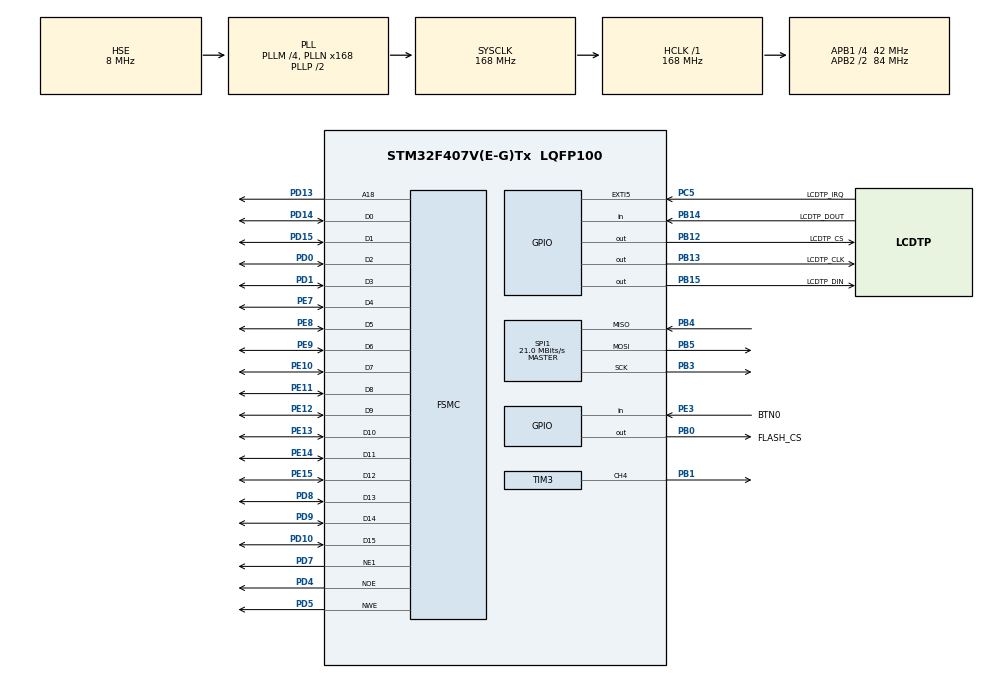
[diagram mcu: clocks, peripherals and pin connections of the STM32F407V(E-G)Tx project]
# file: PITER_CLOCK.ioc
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FSMC.BusTurnAroundDuration1=0
FSMC.DataSetupTime1=60
FSMC.ExtendedAddressSetupTime1=4
FSMC.ExtendedBusTurnAroundDuration1=0
FSMC.ExtendedDataSetupTime1=5
FSMC.ExtendedMode1=FSMC_EXTENDED_MODE_ENABLE
Mcu.Family=STM32F4
Mcu.Name=STM32F407V(E-G)Tx
Mcu.Package=LQFP100
NVIC.PriorityGroup=NVIC_PRIORITYGROUP_4
NVIC.TIM4_IRQn=true\:0\:0\:false\:false\:true\:true\:true\:true
PA13.Mode=Serial_Wire
PA13.Signal=SYS_JTMS-SWDIO
PA14.Mode=Serial_Wire
PA14.Signal=SYS_JTCK-SWCLK
PB0.GPIO_Label=FLASH_CS
PB0.GPIO_PuPd=GPIO_PULLUP
PB0.GPIO_Speed=GPIO_SPEED_FREQ_HIGH
PB0.PinState=GPIO_PIN_SET
PB0.Signal=GPIO_Output
PB1.Signal=S_TIM3_CH4
PB12.GPIO_Label=LCDTP_CS
PB12.GPIO_Speed=GPIO_SPEED_FREQ_HIGH
PB12.PinState=GPIO_PIN_SET
PB12.Signal=GPIO_Output
PB13.GPIO_Label=LCDTP_CLK
PB13.GPIO_Speed=GPIO_SPEED_FREQ_HIGH
PB13.Signal=GPIO_Output
PB14.GPIO_Label=LCDTP_DOUT
PB14.Signal=GPIO_Input
PB15.GPIO_Label=LCDTP_DIN
PB15.GPIO_Speed=GPIO_SPEED_FREQ_HIGH
PB15.Signal=GPIO_Output
PB3.Mode=Full_Duplex_Master
PB3.Signal=SPI1_SCK
PB4.Mode=Full_Duplex_Master
PB4.Signal=SPI1_MISO
PB5.Mode=Full_Duplex_Master
PB5.Signal=SPI1_MOSI
PC14-OSC32_IN.Mode=LSE-External-Oscillator
PC14-OSC32_IN.Signal=RCC_OSC32_IN
PC15-OSC32_OUT.Mode=LSE-External-Oscillator
PC15-OSC32_OUT.Signal=RCC_OSC32_OUT
PC5.GPIO_Label=LCDTP_IRQ
PC5.GPIO_ModeDefaultEXTI=GPIO_MODE_IT_FALLING
PC5.GPIO_PuPd=GPIO_PULLUP
PC5.Signal=GPXTI5
PD0.Mode=16b-d1
PD0.Signal=FSMC_D2
PD1.Mode=16b-d1
PD1.Signal=FSMC_D3
PD10.Mode=16b-d1
PD10.Signal=FSMC_D15
PD13.Mode=A18_1
PD13.Signal=FSMC_A18
PD14.Mode=16b-d1
PD14.Signal=FSMC_D0
PD15.Mode=16b-d1
PD15.Signal=FSMC_D1
PD4.Mode=Lcd1
PD4.Signal=FSMC_NOE
PD5.Mode=Lcd1
PD5.Signal=FSMC_NWE
PD7.Mode=NorPsramChipSelect1_1
PD7.Signal=FSMC_NE1
PD8.Mode=16b-d1
PD8.Signal=FSMC_D13
PD9.Mode=16b-d1
PD9.Signal=FSMC_D14
PE10.Mode=16b-d1
PE10.Signal=FSMC_D7
PE11.Mode=16b-d1
PE11.Signal=FSMC_D8
PE12.Mode=16b-d1
PE12.Signal=FSMC_D9
PE13.Mode=16b-d1
PE13.Signal=FSMC_D10
PE14.Mode=16b-d1
PE14.Signal=FSMC_D11
PE15.Mode=16b-d1
PE15.Signal=FSMC_D12
PE3.GPIO_Label=BTN0
PE3.GPIO_PuPd=GPIO_PULLUP
PE3.Signal=GPIO_Input
PE7.Mode=16b-d1
PE7.Signal=FSMC_D4
PE8.Mode=16b-d1
PE8.Signal=FSMC_D5
PE9.Mode=16b-d1
PE9.Signal=FSMC_D6
PH0-OSC_IN.Mode=HSE-External-Oscillator
PH0-OSC_IN.Signal=RCC_OSC_IN
PH1-OSC_OUT.Mode=HSE-External-Oscillator
PH1-OSC_OUT.Signal=RCC_OSC_OUT
ProjectManager.HeapSize=0x800
ProjectManager.StackSize=0x800
ProjectManager.TargetToolchain=STM32CubeIDE
RCC.48MHZClocksFreq_Value=48000000
RCC.AHBFreq_Value=168000000
RCC.APB1CLKDivider=RCC_HCLK_DIV4
RCC.APB1Freq_Value=42000000
RCC.APB1TimFreq_Value=84000000
RCC.APB2CLKDivider=RCC_HCLK_DIV2
RCC.APB2Freq_Value=84000000
RCC.APB2TimFreq_Value=168000000
RCC.CortexFreq_Value=168000000
RCC.HCLKFreq_Value=168000000
RCC.HSE_VALUE=8000000
RCC.HSI_VALUE=16000000
RCC.PLLM=4
RCC.PLLN=168
RCC.PLLQ=7
RCC.PLLSourceVirtual=RCC_PLLSOURCE_HSE
RCC.RCC_RTC_Clock_Source=RCC_RTCCLKSOURCE_LSE
RCC.RCC_RTC_Clock_SourceVirtual=RCC_RTCCLKSOURCE_LSE
RCC.SYSCLKFreq_VALUE=168000000
RCC.SYSCLKSource=RCC_SYSCLKSOURCE_PLLCLK
RCC.VCOOutputFreq_Value=336000000
SH.S_TIM3_CH4.0=TIM3_CH4,PWM Generation4 CH4
SPI1.BaudRatePrescaler=SPI_BAUDRATEPRESCALER_4
SPI1.CalculateBaudRate=21.0 MBits/s
SPI1.Direction=SPI_DIRECTION_2LINES
SPI1.Mode=SPI_MODE_MASTER
SPI1.VirtualType=VM_MASTER
TIM3.AutoReloadPreload=TIM_AUTORELOAD_PRELOAD_ENABLE
TIM3.Channel-PWM\ Generation4\ CH4=TIM_CHANNEL_4
TIM3.Prescaler=2
TIM4.Period=4999
TIM4.Prescaler=8400-1
TIM6.Prescaler=84-1
VP_RNG_VS_RNG.Mode=RNG_Activate
VP_RTC_VS_RTC_Activate.Mode=RTC_Enabled
VP_TIM3_VS_ClockSourceINT.Mode=Internal
VP_TIM4_VS_ClockSourceINT.Mode=Internal
VP_TIM6_VS_ClockSourceINT.Mode=Enable_Timer
board=custom

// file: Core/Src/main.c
/* USER CODE BEGIN Header */
/**
  ******************************************************************************
  * @file           : main.c
  * @brief          : Main program body
  ******************************************************************************
  * @attention
  *
  * Copyright (c) 2025 STMicroelectronics.
  * All rights reserved.
  *
  * This software is licensed under terms that can be found in the LICENSE file
  * in the root directory of this software component.
  * If no LICENSE file comes with this software, it is provided AS-IS.
  *
  ******************************************************************************
  */
/* USER CODE END Header */
#include "main.h"

/* USER CODE BEGIN Includes */
#include  "RTC.h"
#include "time.h"
#include "ili9341.h"
#include "touch_panel.h"
#include "ADT_F.h"
/* USER CODE END Includes */

RNG_HandleTypeDef hrng;

RTC_HandleTypeDef hrtc;

SPI_HandleTypeDef hspi1;

TIM_HandleTypeDef htim3;
TIM_HandleTypeDef htim4;
TIM_HandleTypeDef htim6;

SRAM_HandleTypeDef hsram1;

/* USER CODE BEGIN PV */
uint8_t idx[13];
uint8_t idy[13];
extern lcdPropertiesTypeDef  lcdProperties;
extern uint16_t lcd_text_color ;
extern uint16_t lcd_background_color;
extern uint16_t Paint_Color;

extern uint8_t LCD_WORK_ORIENTATION ;
extern uint8_t LCD_NOT_WORK_ORIENTATION ;
extern uint8_t LCD_PORTRAIT_WORK_ORIENTATION ;
extern uint8_t LCD_PORTRAIT_NOT_WORK_ORIENTATION ;

extern uint8_t change_colors ;
extern uint8_t mode_night ;
/* USER CODE END PV */

void SystemClock_Config(void);
static void MX_GPIO_Init(void);
static void MX_FSMC_Init(void);
static void MX_RNG_Init(void);
static void MX_RTC_Init(void);
static void MX_SPI1_Init(void);
static void MX_TIM6_Init(void);
static void MX_TIM3_Init(void);
static void MX_TIM4_Init(void);
/* USER CODE BEGIN PFP */
//================================================================

//=================================================================
/* USER CODE END PFP */

int main(void)
{

  /* MCU Configuration--------------------------------------------------------*/

  /* Reset of all peripherals, Initializes the Flash interface and the Systick. */
  HAL_Init();

  /* Configure the system clock */
  SystemClock_Config();

  /* Initialize all configured peripherals */
  MX_GPIO_Init();
  MX_FSMC_Init();
  MX_RNG_Init();
  MX_RTC_Init();
  MX_SPI1_Init();
  MX_TIM6_Init();
  MX_TIM3_Init();
  MX_TIM4_Init();
  /* USER CODE BEGIN 2 */
  //===========================================
  check_work_orientation();
  check_slideshow();
  HAL_TIM_Base_Stop_IT(&htim4); // stop INTERRUPT from TIMER4 for colon blink
  HAL_TIM_PWM_Start(&htim3, TIM_CHANNEL_4); // enable PWM back light
  change_colors = HAL_RTCEx_BKUPRead(&hrtc, RTC_BKP_DR2);
  mode_night = HAL_RTCEx_BKUPRead(&hrtc, RTC_BKP_DR3);
  READ_CENTURY();
  __HAL_TIM_SET_COMPARE(&htim3, TIM_CHANNEL_4, 65535);
  CHECK_CALIBRATE_TIME_VALUES(); // check calibration time values and setup if needed
  //===========================================
  LCD_ILI9341_init();
  check_work_orientation();
  lcdSetOrientation(LCD_WORK_ORIENTATION);
  //====================================================

  readPicFromFlash(7);

  for (int t = 65535; t > 0; t -= 32)
  {
	  HAL_Delay(1);
    __HAL_TIM_SET_COMPARE(&htim3, TIM_CHANNEL_4, t);
  }

  LCD_ClrScr(0);
  HAL_Delay(500);

  set_PWM();
  print_RTC();

  /* USER CODE END 2 */

  /* Infinite loop */
  /* USER CODE BEGIN WHILE */
  while (1)
  {
	  test_print_RTC();
	  test_setup();

    /* USER CODE END WHILE */

  }
}

void SystemClock_Config(void)
{
  RCC_OscInitTypeDef RCC_OscInitStruct = {0};
  RCC_ClkInitTypeDef RCC_ClkInitStruct = {0};

  /** Configure the main internal regulator output voltage
  */
  __HAL_RCC_PWR_CLK_ENABLE();
  __HAL_PWR_VOLTAGESCALING_CONFIG(PWR_REGULATOR_VOLTAGE_SCALE1);

  /** Initializes the RCC Oscillators according to the specified parameters
  * in the RCC_OscInitTypeDef structure.
  */
  RCC_OscInitStruct.OscillatorType = RCC_OSCILLATORTYPE_HSE|RCC_OSCILLATORTYPE_LSE;
  RCC_OscInitStruct.HSEState = RCC_HSE_ON;
  RCC_OscInitStruct.LSEState = RCC_LSE_ON;
  RCC_OscInitStruct.PLL.PLLState = RCC_PLL_ON;
  RCC_OscInitStruct.PLL.PLLSource = RCC_PLLSOURCE_HSE;
  RCC_OscInitStruct.PLL.PLLM = 4;
  RCC_OscInitStruct.PLL.PLLN = 168;
  RCC_OscInitStruct.PLL.PLLP = RCC_PLLP_DIV2;
  RCC_OscInitStruct.PLL.PLLQ = 7;
  if (HAL_RCC_OscConfig(&RCC_OscInitStruct) != HAL_OK)
  {
    Error_Handler();
  }

  /** Initializes the CPU, AHB and APB buses clocks
  */
  RCC_ClkInitStruct.ClockType = RCC_CLOCKTYPE_HCLK|RCC_CLOCKTYPE_SYSCLK
                              |RCC_CLOCKTYPE_PCLK1|RCC_CLOCKTYPE_PCLK2;
  RCC_ClkInitStruct.SYSCLKSource = RCC_SYSCLKSOURCE_PLLCLK;
  RCC_ClkInitStruct.AHBCLKDivider = RCC_SYSCLK_DIV1;
  RCC_ClkInitStruct.APB1CLKDivider = RCC_HCLK_DIV4;
  RCC_ClkInitStruct.APB2CLKDivider = RCC_HCLK_DIV2;

  if (HAL_RCC_ClockConfig(&RCC_ClkInitStruct, FLASH_LATENCY_5) != HAL_OK)
  {
    Error_Handler();
  }
}

static void MX_RNG_Init(void)
{

  hrng.Instance = RNG;
  if (HAL_RNG_Init(&hrng) != HAL_OK)
  {
    Error_Handler();
  }

}

static void MX_RTC_Init(void)
{

  /** Initialize RTC Only
  */
  hrtc.Instance = RTC;
  hrtc.Init.HourFormat = RTC_HOURFORMAT_24;
  hrtc.Init.AsynchPrediv = 127;
  hrtc.Init.SynchPrediv = 255;
  hrtc.Init.OutPut = RTC_OUTPUT_DISABLE;
  hrtc.Init.OutPutPolarity = RTC_OUTPUT_POLARITY_HIGH;
  hrtc.Init.OutPutType = RTC_OUTPUT_TYPE_OPENDRAIN;
  if (HAL_RTC_Init(&hrtc) != HAL_OK)
  {
    Error_Handler();
  }

}

static void MX_SPI1_Init(void)
{

  /* SPI1 parameter configuration*/
  hspi1.Instance = SPI1;
  hspi1.Init.Mode = SPI_MODE_MASTER;
  hspi1.Init.Direction = SPI_DIRECTION_2LINES;
  hspi1.Init.DataSize = SPI_DATASIZE_8BIT;
  hspi1.Init.CLKPolarity = SPI_POLARITY_LOW;
  hspi1.Init.CLKPhase = SPI_PHASE_1EDGE;
  hspi1.Init.NSS = SPI_NSS_SOFT;
  hspi1.Init.BaudRatePrescaler = SPI_BAUDRATEPRESCALER_4;
  hspi1.Init.FirstBit = SPI_FIRSTBIT_MSB;
  hspi1.Init.TIMode = SPI_TIMODE_DISABLE;
  hspi1.Init.CRCCalculation = SPI_CRCCALCULATION_DISABLE;
  hspi1.Init.CRCPolynomial = 10;
  if (HAL_SPI_Init(&hspi1) != HAL_OK)
  {
    Error_Handler();
  }

}

static void MX_TIM3_Init(void)
{

  TIM_ClockConfigTypeDef sClockSourceConfig = {0};
  TIM_MasterConfigTypeDef sMasterConfig = {0};
  TIM_OC_InitTypeDef sConfigOC = {0};

  htim3.Instance = TIM3;
  htim3.Init.Prescaler = 2;
  htim3.Init.CounterMode = TIM_COUNTERMODE_UP;
  htim3.Init.Period = 65535;
  htim3.Init.ClockDivision = TIM_CLOCKDIVISION_DIV1;
  htim3.Init.AutoReloadPreload = TIM_AUTORELOAD_PRELOAD_ENABLE;
  if (HAL_TIM_Base_Init(&htim3) != HAL_OK)
  {
    Error_Handler();
  }
  sClockSourceConfig.ClockSource = TIM_CLOCKSOURCE_INTERNAL;
  if (HAL_TIM_ConfigClockSource(&htim3, &sClockSourceConfig) != HAL_OK)
  {
    Error_Handler();
  }
  if (HAL_TIM_PWM_Init(&htim3) != HAL_OK)
  {
    Error_Handler();
  }
  sMasterConfig.MasterOutputTrigger = TIM_TRGO_RESET;
  sMasterConfig.MasterSlaveMode = TIM_MASTERSLAVEMODE_DISABLE;
  if (HAL_TIMEx_MasterConfigSynchronization(&htim3, &sMasterConfig) != HAL_OK)
  {
    Error_Handler();
  }
  sConfigOC.OCMode = TIM_OCMODE_PWM1;
  sConfigOC.Pulse = 0;
  sConfigOC.OCPolarity = TIM_OCPOLARITY_HIGH;
  sConfigOC.OCFastMode = TIM_OCFAST_DISABLE;
  if (HAL_TIM_PWM_ConfigChannel(&htim3, &sConfigOC, TIM_CHANNEL_4) != HAL_OK)
  {
    Error_Handler();
  }
  HAL_TIM_MspPostInit(&htim3);

}

static void MX_TIM4_Init(void)
{

  TIM_ClockConfigTypeDef sClockSourceConfig = {0};
  TIM_MasterConfigTypeDef sMasterConfig = {0};

  htim4.Instance = TIM4;
  htim4.Init.Prescaler = 8400-1;
  htim4.Init.CounterMode = TIM_COUNTERMODE_UP;
  htim4.Init.Period = 4999;
  htim4.Init.ClockDivision = TIM_CLOCKDIVISION_DIV1;
  htim4.Init.AutoReloadPreload = TIM_AUTORELOAD_PRELOAD_DISABLE;
  if (HAL_TIM_Base_Init(&htim4) != HAL_OK)
  {
    Error_Handler();
  }
  sClockSourceConfig.ClockSource = TIM_CLOCKSOURCE_INTERNAL;
  if (HAL_TIM_ConfigClockSource(&htim4, &sClockSourceConfig) != HAL_OK)
  {
    Error_Handler();
  }
  sMasterConfig.MasterOutputTrigger = TIM_TRGO_RESET;
  sMasterConfig.MasterSlaveMode = TIM_MASTERSLAVEMODE_DISABLE;
  if (HAL_TIMEx_MasterConfigSynchronization(&htim4, &sMasterConfig) != HAL_OK)
  {
    Error_Handler();
  }

}

static void MX_TIM6_Init(void)
{

  TIM_MasterConfigTypeDef sMasterConfig = {0};

  htim6.Instance = TIM6;
  htim6.Init.Prescaler = 84-1;
  htim6.Init.CounterMode = TIM_COUNTERMODE_UP;
  htim6.Init.Period = 65535;
  htim6.Init.AutoReloadPreload = TIM_AUTORELOAD_PRELOAD_DISABLE;
  if (HAL_TIM_Base_Init(&htim6) != HAL_OK)
  {
    Error_Handler();
  }
  sMasterConfig.MasterOutputTrigger = TIM_TRGO_RESET;
  sMasterConfig.MasterSlaveMode = TIM_MASTERSLAVEMODE_DISABLE;
  if (HAL_TIMEx_MasterConfigSynchronization(&htim6, &sMasterConfig) != HAL_OK)
  {
    Error_Handler();
  }

}

static void MX_GPIO_Init(void)
{
  GPIO_InitTypeDef GPIO_InitStruct = {0};

  /* GPIO Ports Clock Enable */
  __HAL_RCC_GPIOE_CLK_ENABLE();
  __HAL_RCC_GPIOC_CLK_ENABLE();
  __HAL_RCC_GPIOH_CLK_ENABLE();
  __HAL_RCC_GPIOA_CLK_ENABLE();
  __HAL_RCC_GPIOB_CLK_ENABLE();
  __HAL_RCC_GPIOD_CLK_ENABLE();

  /*Configure GPIO pin Output Level */
  HAL_GPIO_WritePin(GPIOB, FLASH_CS_Pin|LCDTP_CS_Pin, GPIO_PIN_SET);

  /*Configure GPIO pin Output Level */
  HAL_GPIO_WritePin(GPIOB, LCDTP_CLK_Pin|LCDTP_DIN_Pin, GPIO_PIN_RESET);

  /*Configure GPIO pins : PE2 PE4 PE5 PE6
                           PE0 PE1 */
  GPIO_InitStruct.Pin = GPIO_PIN_2|GPIO_PIN_4|GPIO_PIN_5|GPIO_PIN_6
                          |GPIO_PIN_0|GPIO_PIN_1;
  GPIO_InitStruct.Mode = GPIO_MODE_ANALOG;
  GPIO_InitStruct.Pull = GPIO_NOPULL;
  HAL_GPIO_Init(GPIOE, &GPIO_InitStruct);

  /*Configure GPIO pin : BTN0_Pin */
  GPIO_InitStruct.Pin = BTN0_Pin;
  GPIO_InitStruct.Mode = GPIO_MODE_INPUT;
  GPIO_InitStruct.Pull = GPIO_PULLUP;
  HAL_GPIO_Init(BTN0_GPIO_Port, &GPIO_InitStruct);

  /*Configure GPIO pins : PC13 PC0 PC1 PC2
                           PC3 PC4 PC6 PC7
                           PC8 PC9 PC10 PC11
                           PC12 */
  GPIO_InitStruct.Pin = GPIO_PIN_13|GPIO_PIN_0|GPIO_PIN_1|GPIO_PIN_2
                          |GPIO_PIN_3|GPIO_PIN_4|GPIO_PIN_6|GPIO_PIN_7
                          |GPIO_PIN_8|GPIO_PIN_9|GPIO_PIN_10|GPIO_PIN_11
                          |GPIO_PIN_12;
  GPIO_InitStruct.Mode = GPIO_MODE_ANALOG;
  GPIO_InitStruct.Pull = GPIO_NOPULL;
  HAL_GPIO_Init(GPIOC, &GPIO_InitStruct);

  /*Configure GPIO pins : PA0 PA1 PA2 PA3
                           PA4 PA5 PA6 PA7
                           PA8 PA9 PA10 PA11
                           PA12 PA15 */
  GPIO_InitStruct.Pin = GPIO_PIN_0|GPIO_PIN_1|GPIO_PIN_2|GPIO_PIN_3
                          |GPIO_PIN_4|GPIO_PIN_5|GPIO_PIN_6|GPIO_PIN_7
                          |GPIO_PIN_8|GPIO_PIN_9|GPIO_PIN_10|GPIO_PIN_11
                          |GPIO_PIN_12|GPIO_PIN_15;
  GPIO_InitStruct.Mode = GPIO_MODE_ANALOG;
  GPIO_InitStruct.Pull = GPIO_NOPULL;
  HAL_GPIO_Init(GPIOA, &GPIO_InitStruct);

  /*Configure GPIO pin : LCDTP_IRQ_Pin */
  GPIO_InitStruct.Pin = LCDTP_IRQ_Pin;
  GPIO_InitStruct.Mode = GPIO_MODE_IT_FALLING;
  GPIO_InitStruct.Pull = GPIO_PULLUP;
  HAL_GPIO_Init(LCDTP_IRQ_GPIO_Port, &GPIO_InitStruct);

  /*Configure GPIO pin : FLASH_CS_Pin */
  GPIO_InitStruct.Pin = FLASH_CS_Pin;
  GPIO_InitStruct.Mode = GPIO_MODE_OUTPUT_PP;
  GPIO_InitStruct.Pull = GPIO_PULLUP;
  GPIO_InitStruct.Speed = GPIO_SPEED_FREQ_HIGH;
  HAL_GPIO_Init(FLASH_CS_GPIO_Port, &GPIO_InitStruct);

  /*Configure GPIO pins : PB2 PB10 PB11 PB6
                           PB7 PB8 PB9 */
  GPIO_InitStruct.Pin = GPIO_PIN_2|GPIO_PIN_10|GPIO_PIN_11|GPIO_PIN_6
                          |GPIO_PIN_7|GPIO_PIN_8|GPIO_PIN_9;
  GPIO_InitStruct.Mode = GPIO_MODE_ANALOG;
  GPIO_InitStruct.Pull = GPIO_NOPULL;
  HAL_GPIO_Init(GPIOB, &GPIO_InitStruct);

  /*Configure GPIO pins : LCDTP_CS_Pin LCDTP_CLK_Pin LCDTP_DIN_Pin */
  GPIO_InitStruct.Pin = LCDTP_CS_Pin|LCDTP_CLK_Pin|LCDTP_DIN_Pin;
  GPIO_InitStruct.Mode = GPIO_MODE_OUTPUT_PP;
  GPIO_InitStruct.Pull = GPIO_NOPULL;
  GPIO_InitStruct.Speed = GPIO_SPEED_FREQ_HIGH;
  HAL_GPIO_Init(GPIOB, &GPIO_InitStruct);

  /*Configure GPIO pin : LCDTP_DOUT_Pin */
  GPIO_InitStruct.Pin = LCDTP_DOUT_Pin;
  GPIO_InitStruct.Mode = GPIO_MODE_INPUT;
  GPIO_InitStruct.Pull = GPIO_NOPULL;
  HAL_GPIO_Init(LCDTP_DOUT_GPIO_Port, &GPIO_InitStruct);

  /*Configure GPIO pins : PD11 PD12 PD2 PD3
                           PD6 */
  GPIO_InitStruct.Pin = GPIO_PIN_11|GPIO_PIN_12|GPIO_PIN_2|GPIO_PIN_3
                          |GPIO_PIN_6;
  GPIO_InitStruct.Mode = GPIO_MODE_ANALOG;
  GPIO_InitStruct.Pull = GPIO_NOPULL;
  HAL_GPIO_Init(GPIOD, &GPIO_InitStruct);

}

/* FSMC initialization function */
static void MX_FSMC_Init(void)
{

  FSMC_NORSRAM_TimingTypeDef Timing = {0};
  FSMC_NORSRAM_TimingTypeDef ExtTiming = {0};

  /** Perform the SRAM1 memory initialization sequence
  */
  hsram1.Instance = FSMC_NORSRAM_DEVICE;
  hsram1.Extended = FSMC_NORSRAM_EXTENDED_DEVICE;
  /* hsram1.Init */
  hsram1.Init.NSBank = FSMC_NORSRAM_BANK1;
  hsram1.Init.DataAddressMux = FSMC_DATA_ADDRESS_MUX_DISABLE;
  hsram1.Init.MemoryType = FSMC_MEMORY_TYPE_SRAM;
  hsram1.Init.MemoryDataWidth = FSMC_NORSRAM_MEM_BUS_WIDTH_16;
  hsram1.Init.BurstAccessMode = FSMC_BURST_ACCESS_MODE_DISABLE;
  hsram1.Init.WaitSignalPolarity = FSMC_WAIT_SIGNAL_POLARITY_LOW;
  hsram1.Init.WrapMode = FSMC_WRAP_MODE_DISABLE;
  hsram1.Init.WaitSignalActive = FSMC_WAIT_TIMING_BEFORE_WS;
  hsram1.Init.WriteOperation = FSMC_WRITE_OPERATION_ENABLE;
  hsram1.Init.WaitSignal = FSMC_WAIT_SIGNAL_DISABLE;
  hsram1.Init.ExtendedMode = FSMC_EXTENDED_MODE_ENABLE;
  hsram1.Init.AsynchronousWait = FSMC_ASYNCHRONOUS_WAIT_DISABLE;
  hsram1.Init.WriteBurst = FSMC_WRITE_BURST_DISABLE;
  hsram1.Init.PageSize = FSMC_PAGE_SIZE_NONE;
  /* Timing */
  Timing.AddressSetupTime = 15;
  Timing.AddressHoldTime = 15;
  Timing.DataSetupTime = 60;
  Timing.BusTurnAroundDuration = 0;
  Timing.CLKDivision = 16;
  Timing.DataLatency = 17;
  Timing.AccessMode = FSMC_ACCESS_MODE_A;
  /* ExtTiming */
  ExtTiming.AddressSetupTime = 4;
  ExtTiming.AddressHoldTime = 15;
  ExtTiming.DataSetupTime = 5;
  ExtTiming.BusTurnAroundDuration = 0;
  ExtTiming.CLKDivision = 16;
  ExtTiming.DataLatency = 17;
  ExtTiming.AccessMode = FSMC_ACCESS_MODE_A;

  if (HAL_SRAM_Init(&hsram1, &Timing, &ExtTiming) != HAL_OK)
  {
    Error_Handler( );
  }

}

/* USER CODE BEGIN 4 */
//=====================================================================================================================
//=====================================================================================================================
//=====================================================================================================================
/* USER CODE END 4 */

void Error_Handler(void)
{
  __disable_irq();
  while (1)
  {
  }
}
